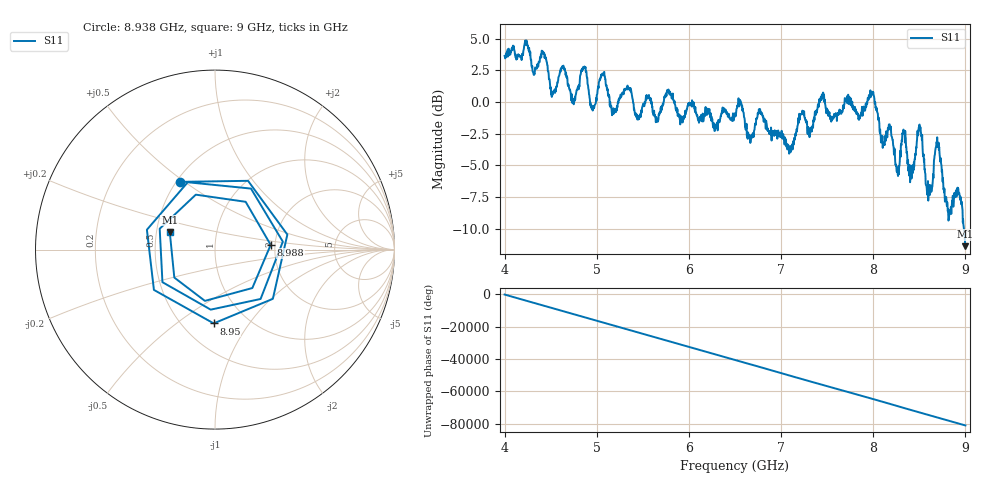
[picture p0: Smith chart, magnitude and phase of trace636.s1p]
! Created with skrf 1.8.0 (http://scikit-rf.org).
# Hz S RI R 50.0
!freq ReS11 ImS11
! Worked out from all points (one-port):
!   1601 points, 4 GHz to 9 GHz, reference 50 ohm
!   lowest |S11| = -11.4 dB at 9 GHz (marker M1), VSWR 1.74, Z = 29.4 + j6.2 ohm
!   |S11| at or under -10 dB: 8.984109 GHz to end of sweep
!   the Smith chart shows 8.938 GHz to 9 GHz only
!   S11 on the Smith chart (normalised r, x): 8.938 GHz: 0.52, +0.48; 8.95 GHz: 0.70, -0.69; 8.988 GHz: 1.90, +0.11; 9 GHz: 0.59, +0.12
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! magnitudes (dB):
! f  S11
! 4 GHz  3.6
! 4.425 GHz  3.9
! 4.522 GHz  0.6
! 4.625 GHz  2.8
! 4.744 GHz  0.2
! 4.856 GHz  2.6
! 4.953 GHz  -0.5
! 5.062 GHz  2.3
! 5.175 GHz  -0.6
! 5.25 GHz  0.3
! 5.875 GHz  -0.6
! 6.5 GHz  -0.9
! 7.125 GHz  -3.7
! 7.441 GHz  0.6
! 7.75 GHz  0.2
! 7.988 GHz  0.8
! 8.262 GHz  -5.3
! 8.328 GHz  -2.2
! 8.375 GHz  -4.6
! 8.422 GHz  -5.6
! 8.506 GHz  -2.2
! 8.594 GHz  -6.2
! 8.694 GHz  -2.8
! 8.812 GHz  -8.5
! 8.938 GHz  -7.4
! 8.95 GHz  -7.7
! 8.988 GHz  -10.1
! 9 GHz  -11.4
